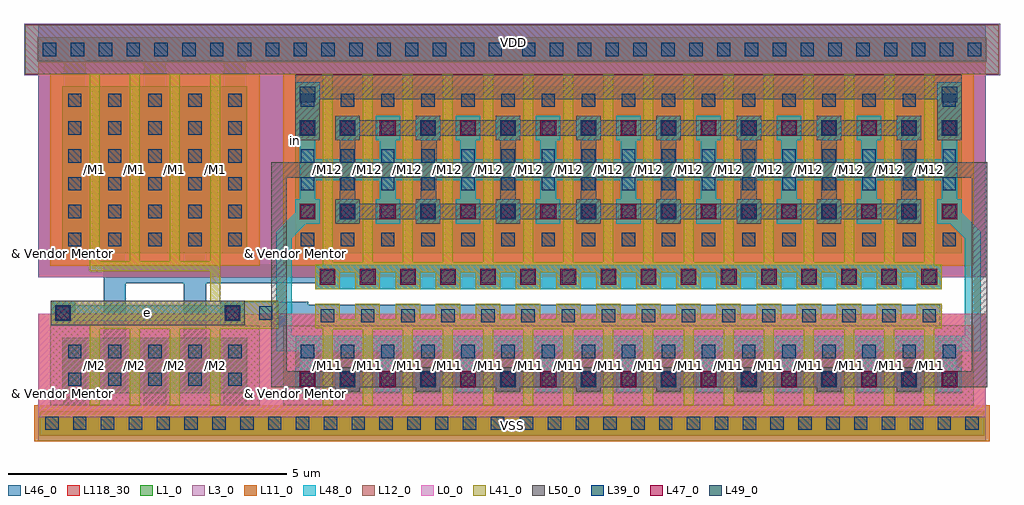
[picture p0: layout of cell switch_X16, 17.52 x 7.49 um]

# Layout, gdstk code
from math import pi, radians
import gdstk
lib = gdstk.Library(unit=1e-6, precision=1e-09)
def R(c, l, rs):  # rectangles x0, y0, x1, y1
    for r in rs: c.add(gdstk.rectangle(r[:2], r[2:], *l))
def A(c, l, x, y, w, h, nx, ny, dx, dy):  # array of equal rectangles
    R(c, l, [(x+i*dx, y+j*dy, x+i*dx+w, y+j*dy+h) for i in range(nx) for j in range(ny)])
def P(c, l, *ps):  # polygons
    for p in ps: c.add(gdstk.Polygon(p, *l))
L0_0 = (0, 0)
L1_0 = (1, 0)
L3_0 = (3, 0)
L11_0 = (11, 0)
L12_0 = (12, 0)
L39_0 = (39, 0)
L41_0 = (41, 0)
L46_0 = (46, 0)
L47_0 = (47, 0)
L48_0 = (48, 0)
L49_0 = (49, 0)
L50_0 = (50, 0)
L118_30 = (118, 30)

m1m2 = lib.new_cell('M1M2')
R(m1m2, L46_0, [(-0.22,-0.22,0.22,0.22)])
R(m1m2, L47_0, [(-0.14,-0.14,0.14,0.14)])
R(m1m2, L48_0, [(-0.22,-0.22,0.22,0.22)])

m2m3 = lib.new_cell('M2M3')
R(m2m3, L48_0, [(-0.22,-0.22,0.22,0.22)])
R(m2m3, L49_0, [(-0.14,-0.14,0.14,0.14)])
R(m2m3, L50_0, [(-0.22,-0.22,0.22,0.22)])

mpoly = lib.new_cell('MPOLY')
R(mpoly, L39_0, [(-0.12,-0.12,0.12,0.12)])
R(mpoly, L41_0, [(-0.22,-0.22,0.22,0.22)])
R(mpoly, L46_0, [(-0.2,-0.2,0.2,0.2)])

switch_x16 = lib.new_cell('switch_X16')
R(switch_x16, L0_0, [(20.41,0.66,24.59,2.52), (24.59,0.66,37.41,2.52)])
R(switch_x16, L1_0, [(20.43,0.33,37.39,0.77), (20.84,1.09,24.16,2.09), (20.84,1.09,21.33,2.09), (23.67,1.09,24.16,2.09), (25.02,1.09,25.51,2.09), (25.02,1.09,36.98,2.09), (36.49,1.09,36.98,2.09), (20.84,3.6,21.33,6.6), (20.84,3.6,24.16,6.6), (23.67,3.6,24.16,6.6), (25.02,3.6,36.98,6.6), (25.02,3.6,25.51,6.6), (36.49,3.6,36.98,6.6), (20.39,7.04,37.43,7.48)])
R(switch_x16, L3_0, [(20.41,3.17,24.59,7.03), (24.59,3.17,37.41,7.03), (20.15,6.8,37.67,7.72)])
R(switch_x16, L11_0, [(20.33,0.23,37.49,0.87), (20.62,3.38,24.38,6.82), (24.8,3.38,37.2,6.82)])
R(switch_x16, L12_0, [(20.62,0.87,24.38,2.31), (24.8,0.87,37.2,2.31), (20.17,6.82,37.65,7.7)])
A(switch_x16, L39_0, 20.53, 0.43, 0.24, 0.24, 17, 1, 0.5, 0)
A(switch_x16, L39_0, 29.05, 0.43, 0.24, 0.24, 17, 1, 0.5, 0)
A(switch_x16, L39_0, 20.94, 1.22, 0.24, 0.24, 5, 2, 0.72, 0.5)
A(switch_x16, L39_0, 25.12, 1.22, 0.24, 0.24, 17, 2, 0.72, 0.5)
A(switch_x16, L39_0, 20.94, 3.73, 0.24, 0.24, 5, 6, 0.72, 0.5)
A(switch_x16, L39_0, 25.12, 3.73, 0.24, 0.24, 17, 6, 0.72, 0.5)
A(switch_x16, L39_0, 20.49, 7.14, 0.24, 0.24, 17, 1, 0.5, 0)
A(switch_x16, L39_0, 29.09, 7.14, 0.24, 0.24, 17, 1, 0.5, 0)
A(switch_x16, L41_0, 21.33, 0.87, 0.18, 0.22, 4, 2, 0.72, 1.22)
A(switch_x16, L41_0, 25.51, 0.87, 0.18, 0.22, 16, 2, 0.72, 1.22)
A(switch_x16, L41_0, 21.33, 1.09, 0.18, 1, 4, 1, 0.72, 0)
A(switch_x16, L41_0, 25.51, 1.09, 0.18, 1, 16, 1, 0.72, 0)
A(switch_x16, L41_0, 21.33, 3.38, 0.18, 0.22, 4, 2, 0.72, 3.22)
A(switch_x16, L41_0, 25.51, 3.38, 0.18, 0.22, 16, 2, 0.72, 3.22)
A(switch_x16, L41_0, 21.33, 3.6, 0.18, 3, 4, 1, 0.72, 0)
A(switch_x16, L41_0, 25.51, 3.6, 0.18, 3, 16, 1, 0.72, 0)
R(switch_x16, L41_0, [(21.07,2.31,23.66,2.75), (23.49,2.43,23.67,2.57)])
P(switch_x16, L41_0, [(25.51,3.26),(36.49,3.26),(36.49,3.54),(36.31,3.54),(36.31,3.44),(35.77,3.44),(35.77,3.54),(35.59,3.54),(35.59,3.44),(35.05,3.44),(35.05,3.54),(34.87,3.54),(34.87,3.44),(34.33,3.44),(34.33,3.54),(34.15,3.54),(34.15,3.44),(33.61,3.44),(33.61,3.54),(33.43,3.54),(33.43,3.44),(32.89,3.44),(32.89,3.54),(32.71,3.54),(32.71,3.44),(32.17,3.44),(32.17,3.54),(31.99,3.54),(31.99,3.44),(31.45,3.44),(31.45,3.54),(31.27,3.54),(31.27,3.44),(30.73,3.44),(30.73,3.54),(30.55,3.54),(30.55,3.44),(30.01,3.44),(30.01,3.54),(29.83,3.54),(29.83,3.44),(29.29,3.44),(29.29,3.54),(29.11,3.54),(29.11,3.44),(28.57,3.44),(28.57,3.54),(28.39,3.54),(28.39,3.44),(27.85,3.44),(27.85,3.54),(27.67,3.54),(27.67,3.44),(27.13,3.44),(27.13,3.54),(26.95,3.54),(26.95,3.44),(26.41,3.44),(26.41,3.54),(26.23,3.54),(26.23,3.44),(25.69,3.44),(25.69,3.54),(25.51,3.54)],
  [(25.51,2.14),(25.69,2.14),(25.69,2.24),(26.23,2.24),(26.23,2.14),(26.41,2.14),(26.41,2.24),(26.95,2.24),(26.95,2.14),(27.13,2.14),(27.13,2.24),(27.67,2.24),(27.67,2.14),(27.85,2.14),(27.85,2.24),(28.39,2.24),(28.39,2.14),(28.57,2.14),(28.57,2.24),(29.11,2.24),(29.11,2.14),(29.29,2.14),(29.29,2.24),(29.83,2.24),(29.83,2.14),(30.01,2.14),(30.01,2.24),(30.55,2.24),(30.55,2.14),(30.73,2.14),(30.73,2.24),(31.27,2.24),(31.27,2.14),(31.45,2.14),(31.45,2.24),(31.99,2.24),(31.99,2.14),(32.17,2.14),(32.17,2.24),(32.71,2.24),(32.71,2.14),(32.89,2.14),(32.89,2.24),(33.43,2.24),(33.43,2.14),(33.61,2.14),(33.61,2.24),(34.15,2.24),(34.15,2.14),(34.33,2.14),(34.33,2.24),(34.87,2.24),(34.87,2.14),(35.05,2.14),(35.05,2.24),(35.59,2.24),(35.59,2.14),(35.77,2.14),(35.77,2.24),(36.31,2.24),(36.31,2.14),(36.49,2.14),(36.49,2.42),(25.51,2.42)],
  [(21.33,3.28),(23.67,3.28),(23.67,3.56),(23.49,3.56),(23.49,3.46),(22.95,3.46),(22.95,3.56),(22.77,3.56),(22.77,3.46),(22.23,3.46),(22.23,3.56),(22.05,3.56),(22.05,3.46),(21.51,3.46),(21.51,3.56),(21.33,3.56)],
  [(21.33,2.13),(21.51,2.13),(21.51,2.25),(22.05,2.25),(22.05,2.13),(22.23,2.13),(22.23,2.25),(22.77,2.25),(22.77,2.13),(22.95,2.13),(22.95,2.25),(23.49,2.25),(23.49,2.13),(23.67,2.13),(23.67,2.43),(21.33,2.43)],
  [(23.67,2.25),(24.71,2.25),(24.71,2.31),(24.27,2.31),(24.27,2.75),(24.11,2.75),(24.11,2.31),(23.67,2.31)],
  [(23.49,2.57),(23.98,2.57),(23.98,2.75),(23.67,2.75),(23.67,3.46),(23.49,3.46)])
A(switch_x16, L46_0, 20.86, 0.39, 0.4, 1.15, 3, 1, 1.44, 0)
A(switch_x16, L46_0, 20.86, 1.14, 0.4, 0.9, 5, 1, 0.72, 0)
A(switch_x16, L46_0, 25.04, 1.14, 0.4, 0.9, 17, 1, 0.72, 0)
A(switch_x16, L46_0, 20.86, 3.65, 0.4, 2.9, 5, 1, 0.72, 0)
A(switch_x16, L46_0, 25.04, 3.65, 0.4, 2.9, 17, 1, 0.72, 0)
A(switch_x16, L46_0, 20.86, 6.15, 0.4, 1.31, 3, 1, 1.44, 0)
R(switch_x16, L46_0, [(20.41,0.23,37.41,0.79), (20.41,0.31,37.41,0.79), (25.4,2.28,36.6,2.68), (25.38,2.96,36.62,3.4), (20.41,7.06,37.41,7.46), (20.41,7.06,37.41,7.72)])
P(switch_x16, L46_0, [(21.58,1.64),(21.98,1.64),(21.98,3.06),(23.02,3.06),(23.02,1.64),(23.42,1.64),(23.42,3.06),(25.77,3.06),(25.77,3.4),(23.42,3.4),(23.42,4.05),(23.02,4.05),(23.02,3.4),(21.98,3.4),(21.98,4.05),(21.58,4.05)],
  [(23.69,2.28),(25.4,2.28),(25.4,2.68),(25.25,2.68),(25.25,2.73),(24.69,2.73),(24.69,2.33),(24.29,2.33),(24.29,2.73),(24.09,2.73),(24.09,2.33),(23.69,2.33)])
R(switch_x16, L48_0, [(20.71,2.39,24.03,2.67), (25.38,2.96,36.62,3.4), (25.02,6.07,25.46,6.23), (36.54,6.07,36.98,6.23)])
P(switch_x16, L48_0, [(24.68,1.84),(25.1,1.84),(25.1,1.2),(25.38,1.2),(25.38,1.84),(26.54,1.84),(26.54,1.2),(26.82,1.2),(26.82,1.84),(27.98,1.84),(27.98,1.2),(28.26,1.2),(28.26,1.84),(29.42,1.84),(29.42,1.2),(29.7,1.2),(29.7,1.84),(30.86,1.84),(30.86,1.2),(31.14,1.2),(31.14,1.84),(32.3,1.84),(32.3,1.2),(32.58,1.2),(32.58,1.84),(33.74,1.84),(33.74,1.2),(34.02,1.2),(34.02,1.84),(35.18,1.84),(35.18,1.2),(35.46,1.2),(35.46,1.84),(36.62,1.84),(36.62,1.2),(36.9,1.2),(36.9,1.84),(37.32,1.84),(37.32,3.99),(36.9,4.41),(36.9,5.99),(36.62,5.99),(36.62,4.45),(36.54,4.37),(36.62,4.29),(36.62,4.21),(36.7,4.21),(37.04,3.87),(37.04,2.12),(24.96,2.12),(24.96,3.87),(25.3,4.21),(25.38,4.21),(25.38,4.29),(25.46,4.37),(25.38,4.45),(25.38,4.91),(26.54,4.91),(26.54,4.21),(26.82,4.21),(26.82,4.91),(27.98,4.91),(27.98,4.21),(28.26,4.21),(28.26,4.91),(29.42,4.91),(29.42,4.21),(29.7,4.21),(29.7,4.91),(30.86,4.91),(30.86,4.21),(31.14,4.21),(31.14,4.91),(32.3,4.91),(32.3,4.21),(32.58,4.21),(32.58,4.91),(33.74,4.91),(33.74,4.21),(34.02,4.21),(34.02,4.91),(35.18,4.91),(35.18,4.21),(35.46,4.21),(35.46,4.91),(36.62,4.91),(36.62,5.29),(35.46,5.29),(35.46,5.99),(35.18,5.99),(35.18,5.29),(34.02,5.29),(34.02,5.99),(33.74,5.99),(33.74,5.29),(32.58,5.29),(32.58,5.99),(32.3,5.99),(32.3,5.29),(31.14,5.29),(31.14,5.99),(30.86,5.99),(30.86,5.29),(29.7,5.29),(29.7,5.99),(29.42,5.99),(29.42,5.29),(28.26,5.29),(28.26,5.99),(27.98,5.99),(27.98,5.29),(26.82,5.29),(26.82,5.99),(26.54,5.99),(26.54,5.29),(25.38,5.29),(25.38,5.99),(25.1,5.99),(25.1,4.41),(24.68,3.99)])
R(switch_x16, L50_0, [(20.63,2.31,24.11,2.75)])
P(switch_x16, L50_0, [(25.02,5.63),(25.46,5.63),(25.46,6.37),(36.54,6.37),(36.54,5.63),(36.98,5.63),(36.98,6.81),(25.02,6.81)],
  [(24.59,1.2),(37.44,1.2),(37.44,5.24),(37.16,5.24),(37.16,1.48),(24.87,1.48),(24.87,4.96),(25.82,4.96),(25.82,4.21),(36.18,4.21),(36.18,4.96),(37.16,4.96),(37.16,5.24),(36.18,5.24),(36.18,5.99),(35.9,5.99),(35.9,4.49),(34.74,4.49),(34.74,4.96),(35.9,4.96),(35.9,5.24),(34.74,5.24),(34.74,5.71),(35.9,5.71),(35.9,5.99),(34.46,5.99),(34.46,4.49),(33.3,4.49),(33.3,4.96),(34.46,4.96),(34.46,5.24),(33.3,5.24),(33.3,5.71),(34.46,5.71),(34.46,5.99),(33.02,5.99),(33.02,4.49),(31.86,4.49),(31.86,4.96),(33.02,4.96),(33.02,5.24),(31.86,5.24),(31.86,5.71),(33.02,5.71),(33.02,5.99),(31.58,5.99),(31.58,4.49),(30.42,4.49),(30.42,4.96),(31.58,4.96),(31.58,5.24),(30.42,5.24),(30.42,5.71),(31.58,5.71),(31.58,5.99),(30.14,5.99),(30.14,4.49),(28.98,4.49),(28.98,4.96),(30.14,4.96),(30.14,5.24),(28.98,5.24),(28.98,5.71),(30.14,5.71),(30.14,5.99),(28.7,5.99),(28.7,4.49),(27.55,4.49),(27.55,4.96),(28.7,4.96),(28.7,5.24),(27.56,5.24),(27.56,5.71),(28.7,5.71),(28.7,5.99),(27.28,5.99),(27.28,5.24),(27.27,5.24),(27.27,4.49),(26.1,4.49),(26.1,4.96),(27.27,4.96),(27.27,5.24),(26.1,5.24),(26.1,5.71),(27.28,5.71),(27.28,5.99),(25.82,5.99),(25.82,5.24),(24.59,5.24)])
R(switch_x16, L118_30, [(20.41,0.66,24.59,2.52), (24.59,0.66,37.41,2.52), (20.41,3.17,24.59,7.03), (24.59,3.17,37.41,7.03)])
switch_x16.add(gdstk.Reference(m1m2, (32.44,5.85)))
switch_x16.add(gdstk.Reference(m2m3, (31.72,5.85)))
switch_x16.add(gdstk.Reference(m1m2, (27.4,5.85)))
switch_x16.add(gdstk.Reference(mpoly, (23.89,2.53)))
switch_x16.add(gdstk.Reference(mpoly, (24.49,2.53)))
switch_x16.add(gdstk.Reference(m1m2, (23.89,2.53)))
switch_x16.add(gdstk.Reference(mpoly, (20.85,2.53)))
switch_x16.add(gdstk.Reference(m1m2, (20.85,2.53)))
switch_x16.add(gdstk.Reference(m2m3, (20.85,2.53)))
switch_x16.add(gdstk.Reference(m2m3, (23.89,2.53)))
switch_x16.add(gdstk.Reference(m2m3, (25.24,5.85)))
switch_x16.add(gdstk.Reference(m2m3, (36.76,5.85)))
switch_x16.add(gdstk.Reference(m2m3, (25.24,6.45)))
switch_x16.add(gdstk.Reference(m2m3, (36.76,6.45)))
switch_x16.add(gdstk.Reference(m2m3, (28.84,5.85)))
switch_x16.add(gdstk.Reference(m1m2, (28.12,5.85)))
switch_x16.add(gdstk.Reference(m1m2, (30.28,5.85)))
switch_x16.add(gdstk.Reference(m1m2, (29.56,5.85)))
switch_x16.add(gdstk.Reference(m2m3, (30.28,5.85)))
switch_x16.add(gdstk.Reference(m1m2, (31,5.85)))
switch_x16.add(gdstk.Reference(m1m2, (31.72,5.85)))
switch_x16.add(gdstk.Reference(m2m3, (33.16,5.85)))
switch_x16.add(gdstk.Reference(m1m2, (33.16,5.85)))
switch_x16.add(gdstk.Reference(m2m3, (34.6,5.85)))
switch_x16.add(gdstk.Reference(m2m3, (36.04,5.85)))
switch_x16.add(gdstk.Reference(m1m2, (25.96,5.85)))
switch_x16.add(gdstk.Reference(m2m3, (27.4,5.85)))
switch_x16.add(gdstk.Reference(m1m2, (35.32,5.85)))
switch_x16.add(gdstk.Reference(m1m2, (36.04,5.85)))
switch_x16.add(gdstk.Reference(m2m3, (27.4,4.35)))
switch_x16.add(gdstk.Reference(m1m2, (35.32,4.35)))
switch_x16.add(gdstk.Reference(m1m2, (36.04,4.35)))
switch_x16.add(gdstk.Reference(m1m2, (32.44,4.35)))
switch_x16.add(gdstk.Reference(m2m3, (31.72,4.35)))
switch_x16.add(gdstk.Reference(m2m3, (25.96,4.35)))
switch_x16.add(gdstk.Reference(m1m2, (26.68,4.35)))
switch_x16.add(gdstk.Reference(m1m2, (27.4,4.35)))
switch_x16.add(gdstk.Reference(m2m3, (25.96,5.85)))
switch_x16.add(gdstk.Reference(m1m2, (26.68,5.85)))
switch_x16.add(gdstk.Reference(m1m2, (36.76,5.85)))
switch_x16.add(gdstk.Reference(m1m2, (34.6,5.85)))
switch_x16.add(gdstk.Reference(m1m2, (25.24,5.85)))
switch_x16.add(gdstk.Reference(m1m2, (28.84,5.85)))
switch_x16.add(gdstk.Reference(m1m2, (33.88,5.85)))
switch_x16.add(gdstk.Reference(m1m2, (25.24,4.35)))
switch_x16.add(gdstk.Reference(m1m2, (28.84,4.35)))
switch_x16.add(gdstk.Reference(m1m2, (33.88,4.35)))
switch_x16.add(gdstk.Reference(m2m3, (28.84,4.35)))
switch_x16.add(gdstk.Reference(m1m2, (28.12,4.35)))
switch_x16.add(gdstk.Reference(m1m2, (30.28,4.35)))
switch_x16.add(gdstk.Reference(m1m2, (29.56,4.35)))
switch_x16.add(gdstk.Reference(m2m3, (30.28,4.35)))
switch_x16.add(gdstk.Reference(m1m2, (31,4.35)))
switch_x16.add(gdstk.Reference(m1m2, (31.72,4.35)))
switch_x16.add(gdstk.Reference(m2m3, (33.16,4.35)))
switch_x16.add(gdstk.Reference(m1m2, (33.16,4.35)))
switch_x16.add(gdstk.Reference(m2m3, (34.6,4.35)))
switch_x16.add(gdstk.Reference(m2m3, (36.04,4.35)))
switch_x16.add(gdstk.Reference(m1m2, (25.96,4.35)))
switch_x16.add(gdstk.Reference(m1m2, (36.76,1.34)))
switch_x16.add(gdstk.Reference(m1m2, (34.6,1.34)))
switch_x16.add(gdstk.Reference(m1m2, (25.24,1.34)))
switch_x16.add(gdstk.Reference(m1m2, (28.84,1.34)))
switch_x16.add(gdstk.Reference(m1m2, (33.88,1.34)))
switch_x16.add(gdstk.Reference(m2m3, (28.84,1.34)))
switch_x16.add(gdstk.Reference(m1m2, (28.12,1.34)))
switch_x16.add(gdstk.Reference(m1m2, (30.28,1.34)))
switch_x16.add(gdstk.Reference(m1m2, (29.56,1.34)))
switch_x16.add(gdstk.Reference(m2m3, (30.28,1.34)))
switch_x16.add(gdstk.Reference(m1m2, (31,1.34)))
switch_x16.add(gdstk.Reference(m1m2, (31.72,1.34)))
switch_x16.add(gdstk.Reference(m2m3, (33.16,1.34)))
switch_x16.add(gdstk.Reference(m1m2, (36.76,4.35)))
switch_x16.add(gdstk.Reference(m1m2, (34.6,4.35)))
switch_x16.add(gdstk.Reference(mpoly, (34.24,2.48)))
switch_x16.add(gdstk.Reference(mpoly, (36.4,2.48)))
switch_x16.add(gdstk.Reference(mpoly, (35.68,2.48)))
switch_x16.add(gdstk.Reference(m1m2, (33.16,1.34)))
switch_x16.add(gdstk.Reference(m2m3, (34.6,1.34)))
switch_x16.add(gdstk.Reference(m2m3, (36.04,1.34)))
switch_x16.add(gdstk.Reference(m1m2, (25.96,1.34)))
switch_x16.add(gdstk.Reference(m2m3, (27.4,1.34)))
switch_x16.add(gdstk.Reference(m1m2, (35.32,1.34)))
switch_x16.add(gdstk.Reference(m1m2, (36.04,1.34)))
switch_x16.add(gdstk.Reference(m1m2, (32.44,1.34)))
switch_x16.add(gdstk.Reference(m2m3, (31.72,1.34)))
switch_x16.add(gdstk.Reference(m2m3, (25.96,1.34)))
switch_x16.add(gdstk.Reference(m1m2, (26.68,1.34)))
switch_x16.add(gdstk.Reference(m1m2, (27.4,1.34)))
switch_x16.add(gdstk.Reference(mpoly, (30.64,3.18), rotation=pi, x_reflection=True))
switch_x16.add(gdstk.Reference(mpoly, (31.36,3.18), rotation=pi, x_reflection=True))
switch_x16.add(gdstk.Reference(mpoly, (26.32,2.48)))
switch_x16.add(gdstk.Reference(mpoly, (25.6,2.48)))
switch_x16.add(gdstk.Reference(mpoly, (27.76,2.48)))
switch_x16.add(gdstk.Reference(mpoly, (27.04,2.48)))
switch_x16.add(gdstk.Reference(mpoly, (29.2,2.48)))
switch_x16.add(gdstk.Reference(mpoly, (28.48,2.48)))
switch_x16.add(gdstk.Reference(mpoly, (30.64,2.48)))
switch_x16.add(gdstk.Reference(mpoly, (29.92,2.48)))
switch_x16.add(gdstk.Reference(mpoly, (32.08,2.48)))
switch_x16.add(gdstk.Reference(mpoly, (31.36,2.48)))
switch_x16.add(gdstk.Reference(mpoly, (33.52,2.48)))
switch_x16.add(gdstk.Reference(mpoly, (32.8,2.48)))
switch_x16.add(gdstk.Reference(mpoly, (34.96,2.48)))
switch_x16.add(gdstk.Reference(mpoly, (36.4,3.18), rotation=pi, x_reflection=True))
switch_x16.add(gdstk.Reference(mpoly, (25.6,3.18)))
switch_x16.add(gdstk.Reference(m1m2, (29.92,3.18)))
switch_x16.add(gdstk.Reference(m1m2, (30.64,3.18)))
switch_x16.add(gdstk.Reference(m1m2, (31.36,3.18)))
switch_x16.add(gdstk.Reference(mpoly, (32.08,3.18)))
switch_x16.add(gdstk.Reference(mpoly, (32.8,3.18), rotation=pi, x_reflection=True))
switch_x16.add(gdstk.Reference(mpoly, (33.52,3.18), rotation=pi, x_reflection=True))
switch_x16.add(gdstk.Reference(m1m2, (32.08,3.18)))
switch_x16.add(gdstk.Reference(m1m2, (32.8,3.18)))
switch_x16.add(gdstk.Reference(m1m2, (33.52,3.18)))
switch_x16.add(gdstk.Reference(mpoly, (34.24,3.18)))
switch_x16.add(gdstk.Reference(mpoly, (34.96,3.18), rotation=pi, x_reflection=True))
switch_x16.add(gdstk.Reference(mpoly, (35.68,3.18), rotation=pi, x_reflection=True))
switch_x16.add(gdstk.Reference(m1m2, (34.24,3.18)))
switch_x16.add(gdstk.Reference(m1m2, (34.96,3.18)))
switch_x16.add(gdstk.Reference(m1m2, (35.68,3.18)))
switch_x16.add(gdstk.Reference(m1m2, (36.4,3.18)))
switch_x16.add(gdstk.Reference(mpoly, (26.32,3.18), rotation=pi, x_reflection=True))
switch_x16.add(gdstk.Reference(mpoly, (27.04,3.18), rotation=pi, x_reflection=True))
switch_x16.add(gdstk.Reference(m1m2, (25.6,3.18)))
switch_x16.add(gdstk.Reference(m1m2, (26.32,3.18)))
switch_x16.add(gdstk.Reference(m1m2, (27.04,3.18)))
switch_x16.add(gdstk.Reference(mpoly, (27.76,3.18)))
switch_x16.add(gdstk.Reference(mpoly, (28.48,3.18), rotation=pi, x_reflection=True))
switch_x16.add(gdstk.Reference(mpoly, (29.2,3.18), rotation=pi, x_reflection=True))
switch_x16.add(gdstk.Reference(m1m2, (27.76,3.18)))
switch_x16.add(gdstk.Reference(m1m2, (28.48,3.18)))
switch_x16.add(gdstk.Reference(m1m2, (29.2,3.18)))
switch_x16.add(gdstk.Reference(mpoly, (29.92,3.18)))
switch_x16.add(gdstk.Label('/M12', (25.6,5.1), layer=85, texttype=0))
switch_x16.add(gdstk.Label('/M12', (26.32,5.1), layer=85, texttype=0))
switch_x16.add(gdstk.Label('/M12', (27.04,5.1), layer=85, texttype=0))
switch_x16.add(gdstk.Label('/M12', (27.76,5.1), layer=85, texttype=0))
switch_x16.add(gdstk.Label('/M12', (28.48,5.1), layer=85, texttype=0))
switch_x16.add(gdstk.Label('/M12', (29.2,5.1), layer=85, texttype=0))
switch_x16.add(gdstk.Label('/M12', (29.92,5.1), layer=85, texttype=0))
switch_x16.add(gdstk.Label('/M12', (30.64,5.1), layer=85, texttype=0))
switch_x16.add(gdstk.Label('/M12', (31.36,5.1), layer=85, texttype=0))
switch_x16.add(gdstk.Label('/M12', (32.08,5.1), layer=85, texttype=0))
switch_x16.add(gdstk.Label('/M12', (32.8,5.1), layer=85, texttype=0))
switch_x16.add(gdstk.Label('/M12', (33.52,5.1), layer=85, texttype=0))
switch_x16.add(gdstk.Label('/M12', (34.24,5.1), layer=85, texttype=0))
switch_x16.add(gdstk.Label('/M12', (34.96,5.1), layer=85, texttype=0))
switch_x16.add(gdstk.Label('/M12', (35.68,5.1), layer=85, texttype=0))
switch_x16.add(gdstk.Label('/M12', (36.4,5.1), layer=85, texttype=0))
switch_x16.add(gdstk.Label('& Vendor Mentor', (25.02,3.6), layer=63, texttype=63))
switch_x16.add(gdstk.Label('& Product UMC180FDKMFM', (25.02,3.6), layer=63, texttype=63))
switch_x16.add(gdstk.Label('& Version A01', (25.02,3.6), layer=63, texttype=63))
switch_x16.add(gdstk.Label('& Metric 0', (25.02,3.6), layer=63, texttype=63))
switch_x16.add(gdstk.Label('& _PublicCode', (25.02,3.6), layer=63, texttype=63))
switch_x16.add(gdstk.Label('/M2', (21.42,1.59), layer=85, texttype=0))
switch_x16.add(gdstk.Label('/M2', (22.14,1.59), layer=85, texttype=0))
switch_x16.add(gdstk.Label('/M2', (22.86,1.59), layer=85, texttype=0))
switch_x16.add(gdstk.Label('/M2', (23.58,1.59), layer=85, texttype=0))
switch_x16.add(gdstk.Label('& Vendor Mentor', (20.84,1.09), layer=63, texttype=63))
switch_x16.add(gdstk.Label('& Product UMC180FDKMFM', (20.84,1.09), layer=63, texttype=63))
switch_x16.add(gdstk.Label('& Version A01', (20.84,1.09), layer=63, texttype=63))
switch_x16.add(gdstk.Label('& Metric 0', (20.84,1.09), layer=63, texttype=63))
switch_x16.add(gdstk.Label('& _PublicCode', (20.84,1.09), layer=63, texttype=63))
switch_x16.add(gdstk.Label('/M1', (21.42,5.1), layer=85, texttype=0))
switch_x16.add(gdstk.Label('/M1', (22.14,5.1), layer=85, texttype=0))
switch_x16.add(gdstk.Label('/M1', (22.86,5.1), layer=85, texttype=0))
switch_x16.add(gdstk.Label('/M1', (23.58,5.1), layer=85, texttype=0))
switch_x16.add(gdstk.Label('& Vendor Mentor', (20.84,3.6), layer=63, texttype=63))
switch_x16.add(gdstk.Label('& Product UMC180FDKMFM', (20.84,3.6), layer=63, texttype=63))
switch_x16.add(gdstk.Label('& Version A01', (20.84,3.6), layer=63, texttype=63))
switch_x16.add(gdstk.Label('& Metric 0', (20.84,3.6), layer=63, texttype=63))
switch_x16.add(gdstk.Label('& _PublicCode', (20.84,3.6), layer=63, texttype=63))
switch_x16.add(gdstk.Label('/M11', (26.32,1.59), layer=85, texttype=0))
switch_x16.add(gdstk.Label('/M11', (25.6,1.59), layer=85, texttype=0))
switch_x16.add(gdstk.Label('/M11', (27.76,1.59), layer=85, texttype=0))
switch_x16.add(gdstk.Label('/M11', (28.48,1.59), layer=85, texttype=0))
switch_x16.add(gdstk.Label('/M11', (29.2,1.59), layer=85, texttype=0))
switch_x16.add(gdstk.Label('/M11', (29.92,1.59), layer=85, texttype=0))
switch_x16.add(gdstk.Label('/M11', (30.64,1.59), layer=85, texttype=0))
switch_x16.add(gdstk.Label('/M11', (31.36,1.59), layer=85, texttype=0))
switch_x16.add(gdstk.Label('/M11', (32.08,1.59), layer=85, texttype=0))
switch_x16.add(gdstk.Label('/M11', (32.8,1.59), layer=85, texttype=0))
switch_x16.add(gdstk.Label('/M11', (33.52,1.59), layer=85, texttype=0))
switch_x16.add(gdstk.Label('/M11', (34.24,1.59), layer=85, texttype=0))
switch_x16.add(gdstk.Label('/M11', (34.96,1.59), layer=85, texttype=0))
switch_x16.add(gdstk.Label('/M11', (35.68,1.59), layer=85, texttype=0))
switch_x16.add(gdstk.Label('/M11', (36.4,1.59), layer=85, texttype=0))
switch_x16.add(gdstk.Label('& Vendor Mentor', (25.02,1.09), layer=63, texttype=63))
switch_x16.add(gdstk.Label('& Product UMC180FDKMFM', (25.02,1.09), layer=63, texttype=63))
switch_x16.add(gdstk.Label('& Version A01', (25.02,1.09), layer=63, texttype=63))
switch_x16.add(gdstk.Label('& Metric 0', (25.02,1.09), layer=63, texttype=63))
switch_x16.add(gdstk.Label('& _PublicCode', (25.02,1.09), layer=63, texttype=63))
switch_x16.add(gdstk.Label('/M11', (27.04,1.59), layer=85, texttype=0))
switch_x16.add(gdstk.Label('VSS', (28.91,0.51), layer=101, texttype=0))
switch_x16.add(gdstk.Label('VDD', (28.93,7.38), layer=101, texttype=0))
switch_x16.add(gdstk.Label('out', (24.59,1.2), layer=103, texttype=0))
switch_x16.add(gdstk.Label('in', (25.02,5.63), layer=103, texttype=0))
switch_x16.add(gdstk.Label('e', (22.37,2.53), layer=103, texttype=0))

lib.write_gds('switch_X16.gds')
